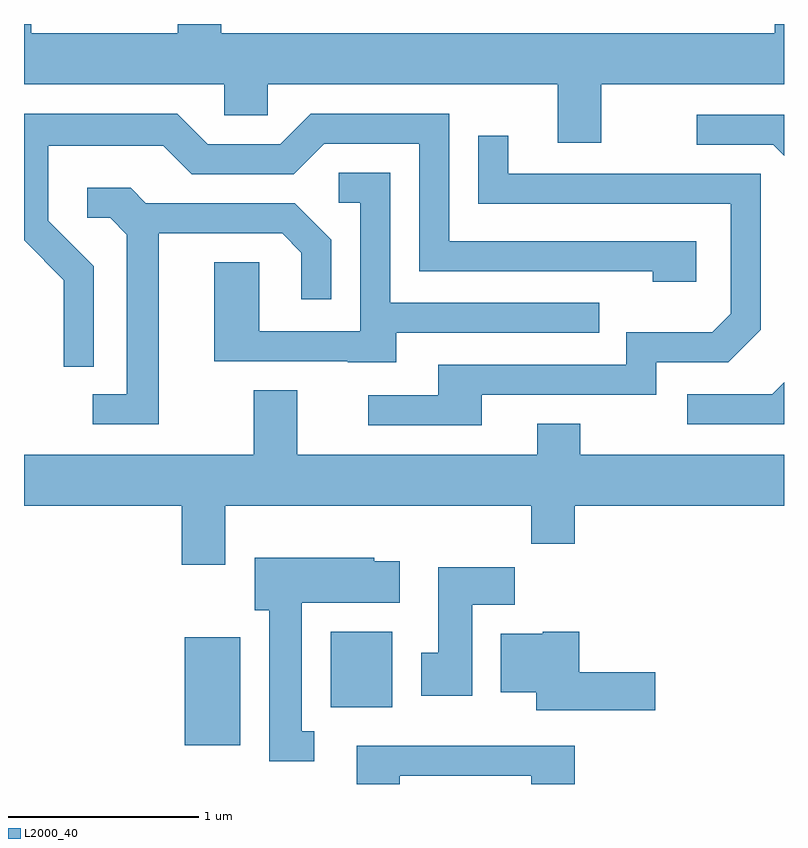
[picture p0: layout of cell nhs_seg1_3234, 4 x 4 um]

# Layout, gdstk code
import gdstk
lib = gdstk.Library(unit=1e-6, precision=1e-09)
def R(c, l, rs):  # rectangles x0, y0, x1, y1
    for r in rs: c.add(gdstk.rectangle(r[:2], r[2:], *l))
def P(c, l, *ps):  # polygons
    for p in ps: c.add(gdstk.Polygon(p, *l))
L2000_40 = (2000, 40)

nhs_seg1_3234 = lib.new_cell('nhs_seg1_3234')
R(nhs_seg1_3234, L2000_40, [(284.456,853.916,284.749,854.484), (285.226,854.116,285.549,854.514)])
P(nhs_seg1_3234, L2000_40, [(286.649,857.396),(287.611,857.396),(287.611,857.712),(287.561,857.712),(287.561,857.664),(284.649,857.664),(284.649,857.712),(284.421,857.712),(284.421,857.664),(283.649,857.664),(283.649,857.712),(283.611,857.712),(283.611,857.396),(284.666,857.396),(284.666,857.231),(284.894,857.231),(284.894,857.396),(286.421,857.396),(286.421,857.086),(286.649,857.086)],
  [(283.979,856.437),(283.739,856.677),(283.739,857.071),(284.344,857.071),(284.494,856.921),(285.032,856.921),(285.192,857.081),(285.691,857.081),(285.691,856.411),(286.921,856.411),(286.921,856.356),(287.149,856.356),(287.149,856.569),(285.849,856.569),(285.849,857.239),(285.119,857.239),(284.959,857.079),(284.577,857.079),(284.417,857.239),(283.611,857.239),(283.611,856.574),(283.821,856.364),(283.821,855.908),(283.979,855.908)],
  [(287.611,857.234),(287.153,857.234),(287.153,857.076),(287.554,857.076),(287.611,857.019)],
  [(286.019,855.761),(286.939,855.761),(286.939,855.931),(287.317,855.931),(287.489,856.104),(287.489,856.924),(286.159,856.924),(286.159,857.123),(286.001,857.123),(286.001,856.766),(287.331,856.766),(287.331,856.187),(287.234,856.089),(286.781,856.089),(286.781,855.919),(285.791,855.919),(285.791,855.759),(285.423,855.759),(285.423,855.601),(286.019,855.601)],
  [(285.569,856.086),(286.638,856.086),(286.638,856.244),(285.539,856.244),(285.539,856.929),(285.268,856.929),(285.268,856.771),(285.381,856.771),(285.381,856.094),(284.849,856.094),(284.849,856.459),(284.611,856.459),(284.611,855.936),(285.315,855.936),(285.315,855.931),(285.569,855.931)],
  [(284.319,856.611),(284.969,856.611),(285.071,856.509),(285.071,856.263),(285.229,856.263),(285.229,856.577),(285.037,856.769),(284.252,856.769),(284.172,856.849),(283.943,856.849),(283.943,856.691),(284.064,856.691),(284.151,856.604),(284.151,855.764),(283.973,855.764),(283.973,855.606),(284.319,855.606)],
  [(287.611,855.827),(287.549,855.764),(287.103,855.764),(287.103,855.606),(287.611,855.606)],
  [(284.669,855.176),(286.281,855.176),(286.281,854.976),(286.509,854.976),(286.509,855.176),(287.611,855.176),(287.611,855.444),(286.539,855.444),(286.539,855.609),(286.311,855.609),(286.311,855.444),(285.049,855.444),(285.049,855.784),(284.821,855.784),(284.821,855.444),(283.611,855.444),(283.611,855.176),(284.441,855.176),(284.441,854.866),(284.669,854.866)],
  [(285.138,853.989),(285.074,853.989),(285.074,854.666),(285.589,854.666),(285.589,854.884),(285.454,854.884),(285.454,854.904),(284.826,854.904),(284.826,854.626),(284.901,854.626),(284.901,853.831),(285.138,853.831)],
  [(285.969,854.656),(286.194,854.656),(286.194,854.854),(285.791,854.854),(285.791,854.404),(285.701,854.404),(285.701,854.176),(285.969,854.176)],
  [(286.934,854.299),(286.534,854.299),(286.534,854.514),(286.34,854.514),(286.34,854.504),(286.121,854.504),(286.121,854.196),(286.306,854.196),(286.306,854.101),(286.934,854.101)],
  [(285.589,853.756),(286.281,853.756),(286.281,853.712),(286.509,853.712),(286.509,853.914),(285.361,853.914),(285.361,853.712),(285.589,853.712)])

lib.write_gds('nhs_seg1_3234.gds')
